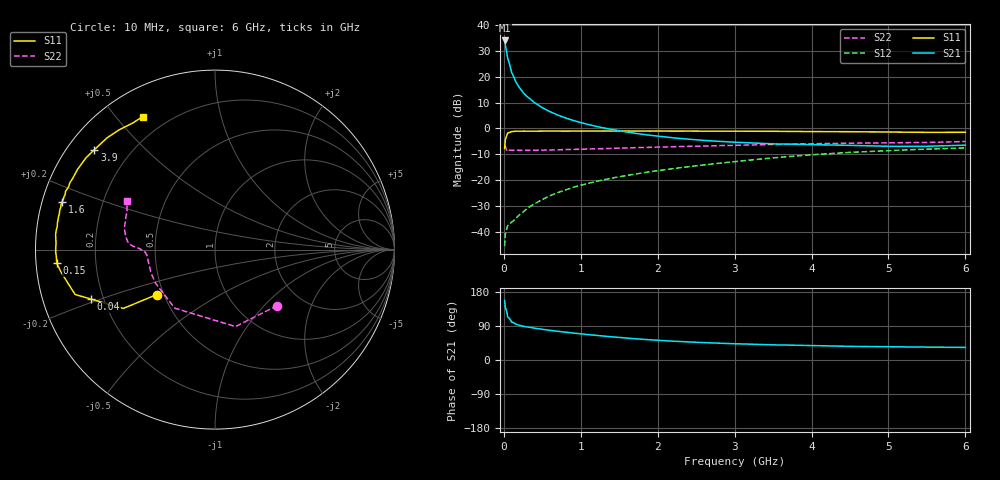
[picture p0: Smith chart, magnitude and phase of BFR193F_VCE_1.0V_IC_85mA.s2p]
! (c) 2017  Infineon Technologies AG, Munich
! Infineon Technologies  Discrete & RF Semiconductors
! BFR193F
! VCE =  1.0 V,  IC =  85 mA
! Common Emitter S-Parameters:  Jan 2017
# GHz  S  MA  R  50
!  f  S11  S21  S12  S22
! GHz  MAG  ANG  MAG  ANG  MAG  ANG  MAG  ANG
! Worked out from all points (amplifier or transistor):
!   77 points, 10 MHz to 6 GHz, reference 50 ohm
!   highest |S21| = 34.2 dB at 10 MHz (marker M1)
!   |S21| within 3 dB of that: start of sweep to 28.16 MHz
!   unconditionally stable (mu >= 1): start of sweep to 13.67 MHz; 209.2 MHz to end of sweep
!   at 130 MHz: K = 0.83, MSG = 27.8 dB, |S12| = -35.7 dB
!   at 2.2 GHz: K = 1.16, MAG = 3.6 dB, |S12| = -15.6 dB
!   at 6 GHz: K = 1.06, MAG = -1.0 dB, |S12| = -7.5 dB
!   S11 on the Smith chart (normalised r, x): 10 MHz: 0.46, -0.28; 40 MHz: 0.15, -0.19; 150 MHz: 0.06, -0.04; 1.6 GHz: 0.06, +0.15; 3.9 GHz: 0.08, +0.36; 6 GHz: 0.11, +0.59
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0.01  0.4093 -142.3  51.03 156.7  0.0052 68.8  0.4664 -42.0
0.02  0.6066 -147.3  41.81 138.5  0.009 52.8  0.4438 -75.1
0.04  0.743 -158.2  28.55 125.5  0.0116 44.2  0.3774 -107.2
0.05  0.8186 -162.2  22.95 113.6  0.013 41.2  0.3961 -124.5
0.1  0.8671 -171.7  12.29 100.5  0.0151 42.2  0.3805 -150.8
0.15  0.8852 -175.2  8.327 95.2  0.0176 51.5  0.3794 -160.3
0.2  0.8848 -177.5  6.255 91.7  0.021 54.9  0.377 -165.0
0.25  0.8878 -179.1  5.013 89.3  0.0239 59.7  0.3766 -168.4
0.3  0.8875 179.7  4.184 87.3  0.0278 63.4  0.3779 -170.3
0.4  0.8864 177.6  3.142 83.8  0.0346 67.2  0.378 -173.2
0.5  0.8892 176.0  2.529 81.0  0.0417 69.8  0.3796 -174.8
0.6  0.8921 174.5  2.12 78.3  0.0497 71.2  0.3825 -176.1
0.7  0.8908 172.9  1.825 75.7  0.0569 72.1  0.3855 -176.8
0.9  0.8905 170.4  1.435 71.2  0.072 73.7  0.3925 -178.3
1.1  0.8908 168.2  1.192 67.0  0.0865 73.8  0.3998 -178.9
1.6  0.8932 162.6  0.853 57.8  0.1227 73.2  0.4196 179.2
2.1  0.8907 157.8  0.685 50.9  0.159 71.8  0.4384 178.5
3.1  0.8851 148.6  0.534 42.4  0.2352 67.6  0.4743 176.4
3.9  0.8727 140.4  0.489 38.5  0.3006 62.2  0.5011 171.9
4.1  0.8693 138.3  0.482 37.7  0.3155 60.5  0.5069 170.3
5.1  0.8511 127.5  0.451 34.8  0.3768 52.2  0.5281 160.0
6  0.8434 118.6  0.475 33.2  0.4199 45.7  0.5587 151.3
